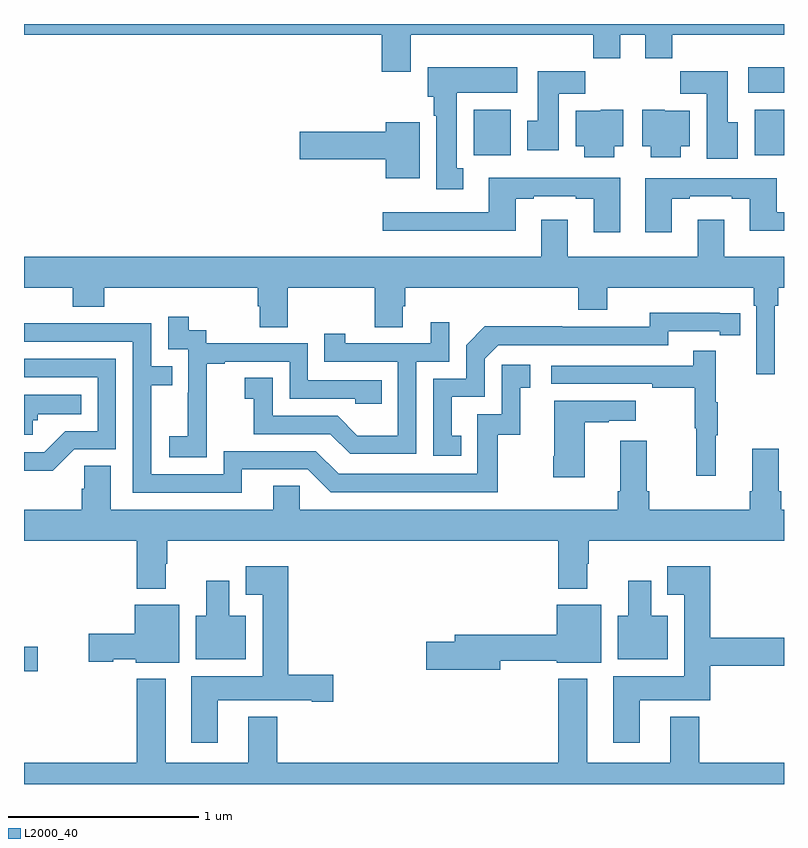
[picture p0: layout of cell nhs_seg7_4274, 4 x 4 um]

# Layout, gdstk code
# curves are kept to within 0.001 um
import gdstk
lib = gdstk.Library(unit=1e-6, precision=1e-09)
def R(c, l, rs):  # rectangles x0, y0, x1, y1
    for r in rs: c.add(gdstk.rectangle(r[:2], r[2:], *l))
def P(c, l, *ps):  # polygons
    for p in ps: c.add(gdstk.Polygon(p, *l))
L2000_40 = (2000, 40)

nhs_seg7_4274 = lib.new_cell('nhs_seg7_4274')
R(nhs_seg7_4274, L2000_40, [(381,1002.593,381.073,1002.723), (383.366,1005.308,383.563,1005.55), (384.845,1005.308,385,1005.55), (384.813,1005.638,385,1005.772)])
P(nhs_seg7_4274, L2000_40, [(383.035,1005.944),(383.995,1005.944),(383.995,1005.82),(384.139,1005.82),(384.139,1005.944),(384.269,1005.944),(384.269,1005.82),(384.413,1005.82),(384.413,1005.944),(385,1005.944),(385,1006),(381,1006),(381,1005.944),(382.883,1005.944),(382.883,1005.75),(383.035,1005.75)],
  [(383.311,1005.242),(383.278,1005.242),(383.278,1005.638),(383.596,1005.638),(383.596,1005.772),(383.126,1005.772),(383.126,1005.618),(383.156,1005.618),(383.156,1005.518),(383.171,1005.518),(383.171,1005.129),(383.311,1005.129)],
  [(383.815,1005.632),(383.954,1005.632),(383.954,1005.751),(383.705,1005.751),(383.705,1005.492),(383.648,1005.492),(383.648,1005.336),(383.815,1005.336)],
  [(384.757,1005.484),(384.703,1005.484),(384.703,1005.751),(384.454,1005.751),(384.454,1005.632),(384.593,1005.632),(384.593,1005.291),(384.757,1005.291)],
  [(384.106,1005.356),(384.154,1005.356),(384.154,1005.55),(384.036,1005.55),(384.036,1005.544),(383.903,1005.544),(383.903,1005.356),(383.948,1005.356),(383.948,1005.299),(384.106,1005.299)],
  [(384.457,1005.356),(384.505,1005.356),(384.505,1005.544),(384.372,1005.544),(384.372,1005.55),(384.254,1005.55),(384.254,1005.356),(384.299,1005.356),(384.299,1005.299),(384.457,1005.299)],
  [(383.083,1005.484),(382.904,1005.484),(382.904,1005.434),(382.452,1005.434),(382.452,1005.287),(382.904,1005.287),(382.904,1005.188),(383.083,1005.188)],
  [(384.139,1005.19),(383.447,1005.19),(383.447,1005.009),(382.887,1005.009),(382.887,1004.912),(383.587,1004.912),(383.587,1005.081),(383.683,1005.081),(383.683,1005.093),(383.903,1005.093),(383.903,1005.081),(383.999,1005.081),(383.999,1004.904),(384.139,1004.904)],
  [(384.409,1005.081),(384.505,1005.081),(384.505,1005.093),(384.725,1005.093),(384.725,1005.081),(384.821,1005.081),(384.821,1004.912),(385,1004.912),(385,1005.009),(384.961,1005.009),(384.961,1005.189),(384.269,1005.189),(384.269,1004.904),(384.409,1004.904)],
  [(384.952,1004.516),(384.971,1004.516),(384.971,1004.612),(385,1004.612),(385,1004.776),(384.685,1004.776),(384.685,1004.971),(384.545,1004.971),(384.545,1004.776),(383.863,1004.776),(383.863,1004.971),(383.723,1004.971),(383.723,1004.776),(381,1004.776),(381,1004.612),(381.257,1004.612),(381.257,1004.513),(381.422,1004.513),(381.422,1004.612),(382.229,1004.612),(382.229,1004.514),(382.241,1004.514),(382.241,1004.404),(382.389,1004.404),(382.389,1004.612),(382.846,1004.612),(382.846,1004.404),(382.993,1004.404),(382.993,1004.514),(383.006,1004.514),(383.006,1004.612),(383.918,1004.612),(383.918,1004.495),(384.07,1004.495),(384.07,1004.612),(384.842,1004.612),(384.842,1004.516),(384.855,1004.516),(384.855,1004.157),(384.952,1004.157)],
  [(383.3,1003.833),(383.251,1003.833),(383.251,1004.037),(383.424,1004.037),(383.424,1004.238),(383.496,1004.31),(384.39,1004.31),(384.39,1004.382),(384.662,1004.382),(384.662,1004.362),(384.77,1004.362),(384.77,1004.478),(384.294,1004.479),(384.294,1004.406),(383.834,1004.406),(383.834,1004.408),(383.426,1004.408),(383.328,1004.31),(383.328,1004.133),(383.154,1004.133),(383.154,1003.728),(383.3,1003.728)],
  [(381.963,1003.927),(381.962,1003.927),(381.962,1004.211),(382.057,1004.211),(382.057,1004.223),(382.398,1004.223),(382.398,1004.028),(382.743,1004.028),(382.743,1004.001),(382.883,1004.001),(382.883,1004.124),(382.494,1004.124),(382.494,1004.319),(381.96,1004.319),(381.96,1004.388),(381.868,1004.388),(381.868,1004.458),(381.759,1004.458),(381.759,1004.289),(381.864,1004.289),(381.864,1004.06),(381.863,1004.06),(381.863,1003.831),(381.765,1003.831),(381.765,1003.721),(381.963,1003.721)],
  [(383.064,1004.223),(383.238,1004.223),(383.238,1004.431),(383.141,1004.431),(383.141,1004.319),(382.69,1004.319),(382.69,1004.371),(382.579,1004.371),(382.579,1004.223),(382.968,1004.223),(382.968,1003.834),(382.754,1003.834),(382.65,1003.938),(382.308,1003.938),(382.308,1004.137),(382.161,1004.137),(382.161,1004.027),(382.21,1004.027),(382.21,1003.842),(382.613,1003.842),(382.718,1003.737),(383.064,1003.737)],
  [(382.147,1003.656),(382.494,1003.656),(382.614,1003.536),(383.494,1003.536),(383.494,1003.839),(383.612,1003.839),(383.612,1004.085),(383.665,1004.085),(383.665,1004.206),(383.514,1004.206),(383.514,1003.947),(383.385,1003.947),(383.385,1003.632),(382.656,1003.632),(382.536,1003.752),(382.05,1003.752),(382.05,1003.629),(381.669,1003.629),(381.669,1004.098),(381.779,1004.098),(381.779,1004.199),(381.669,1004.199),(381.669,1004.424),(381.173,1004.424),(381.173,1004.426),(381,1004.426),(381,1004.328),(381.573,1004.328),(381.573,1003.533),(382.147,1003.533)],
  [(384.641,1003.835),(384.652,1003.835),(384.652,1004.009),(384.641,1004.009),(384.641,1004.281),(384.523,1004.281),(384.523,1004.202),(383.775,1004.202),(383.775,1004.106),(384.307,1004.106),(384.307,1004.086),(384.531,1004.086),(384.531,1003.872),(384.538,1003.872),(384.538,1003.623),(384.641,1003.623)],
  [(381.264,1003.761),(381.483,1003.761),(381.483,1004.238),(381,1004.238),(381,1004.142),(381.387,1004.142),(381.387,1003.857),(381.218,1003.857),(381.107,1003.746),(381,1003.746),(381,1003.649),(381.151,1003.649)],
  [(381.045,1003.914),(381.072,1003.914),(381.072,1003.946),(381.302,1003.946),(381.302,1004.05),(381,1004.05),(381,1003.838),(381.045,1003.838)],
  [(383.95,1003.903),(384.077,1003.903),(384.077,1003.913),(384.22,1003.913),(384.22,1004.017),(383.792,1004.017),(383.792,1003.726),(383.785,1003.726),(383.785,1003.614),(383.95,1003.614)],
  [(381.745,1003.16),(381.753,1003.16),(381.753,1003.28),(383.813,1003.28),(383.813,1003.028),(383.965,1003.028),(383.965,1003.16),(383.973,1003.16),(383.973,1003.28),(385,1003.28),(385,1003.444),(384.986,1003.444),(384.986,1003.54),(384.973,1003.54),(384.973,1003.765),(384.833,1003.765),(384.833,1003.54),(384.821,1003.54),(384.821,1003.444),(384.29,1003.444),(384.29,1003.54),(384.277,1003.54),(384.277,1003.807),(384.137,1003.807),(384.137,1003.54),(384.125,1003.54),(384.125,1003.444),(382.452,1003.444),(382.452,1003.571),(382.313,1003.571),(382.313,1003.444),(381.457,1003.444),(381.457,1003.676),(381.318,1003.676),(381.318,1003.553),(381.305,1003.553),(381.305,1003.444),(381,1003.444),(381,1003.28),(381.593,1003.28),(381.593,1003.028),(381.745,1003.028)],
  [(382.021,1002.44),(382.514,1002.44),(382.514,1002.433),(382.627,1002.433),(382.627,1002.575),(382.391,1002.575),(382.391,1003.147),(382.166,1003.147),(382.166,1002.995),(382.256,1002.995),(382.256,1002.568),(381.881,1002.568),(381.881,1002.216),(382.021,1002.216)],
  [(384.241,1002.44),(384.611,1002.44),(384.611,1002.623),(385,1002.623),(385,1002.77),(384.611,1002.77),(384.611,1003.147),(384.386,1003.147),(384.386,1002.995),(384.476,1002.995),(384.476,1002.568),(384.101,1002.568),(384.101,1002.216),(384.241,1002.216)],
  [(384.388,1002.886),(384.301,1002.886),(384.301,1003.069),(384.179,1003.069),(384.179,1002.886),(384.125,1002.886),(384.125,1002.656),(384.388,1002.656)],
  [(382.168,1002.886),(382.081,1002.886),(382.081,1003.069),(381.959,1003.069),(381.959,1002.886),(381.905,1002.886),(381.905,1002.656),(382.168,1002.656)],
  [(381.817,1002.943),(381.584,1002.943),(381.584,1002.791),(381.342,1002.791),(381.342,1002.644),(381.471,1002.644),(381.471,1002.656),(381.588,1002.656),(381.588,1002.638),(381.817,1002.638)],
  [(383.506,1002.649),(383.804,1002.649),(383.804,1002.638),(384.037,1002.638),(384.037,1002.943),(383.804,1002.943),(383.804,1002.785),(383.267,1002.785),(383.267,1002.749),(383.118,1002.749),(383.118,1002.602),(383.506,1002.602)],
  [(385,1002.112),(384.554,1002.112),(384.554,1002.355),(384.401,1002.355),(384.401,1002.112),(383.965,1002.112),(383.965,1002.553),(383.813,1002.553),(383.813,1002.112),(382.334,1002.112),(382.334,1002.355),(382.181,1002.355),(382.181,1002.112),(381.745,1002.112),(381.745,1002.553),(381.593,1002.553),(381.593,1002.112),(381,1002.112),(381,1002),(385,1002)])

lib.write_gds('nhs_seg7_4274.gds')
